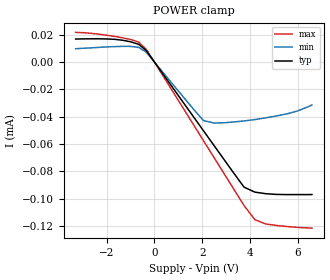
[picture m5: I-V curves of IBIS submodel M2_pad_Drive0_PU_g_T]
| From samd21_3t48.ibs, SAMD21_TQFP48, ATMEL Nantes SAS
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| Submodel
[Submodel]  M2_pad_Drive0_PU_g_T
Submodel_type Dynamic_clamp
[POWER Clamp]
| Voltage   I(typ)   I(min)   I(max)
-3.3V     16.82uA    9.72uA     21.7uA
-1.659V   16.6uA     11.28uA    18.71uA
-995.5mV  14.8uA     11.42uA    16.47uA
-663.6mV  13uA       10.77uA    14.64uA
-331.8mV  8.101uA    6.982uA    9.092uA
2.062V    -50.46uA   -42.89uA   -57.72uA
2.527V    -61.8uA    -44.69uA   -70.7uA
3.755V    -91.58uA   -43.13uA   -105uA
4.209V    -95.23uA   -42.12uA   -115.4uA
4.664V    -96.38uA   -40.87uA   -118.5uA
6.027V    -97.04uA   -35.67uA   -121.1uA
6.6V      -96.97uA   -31.47uA   -121.6uA
